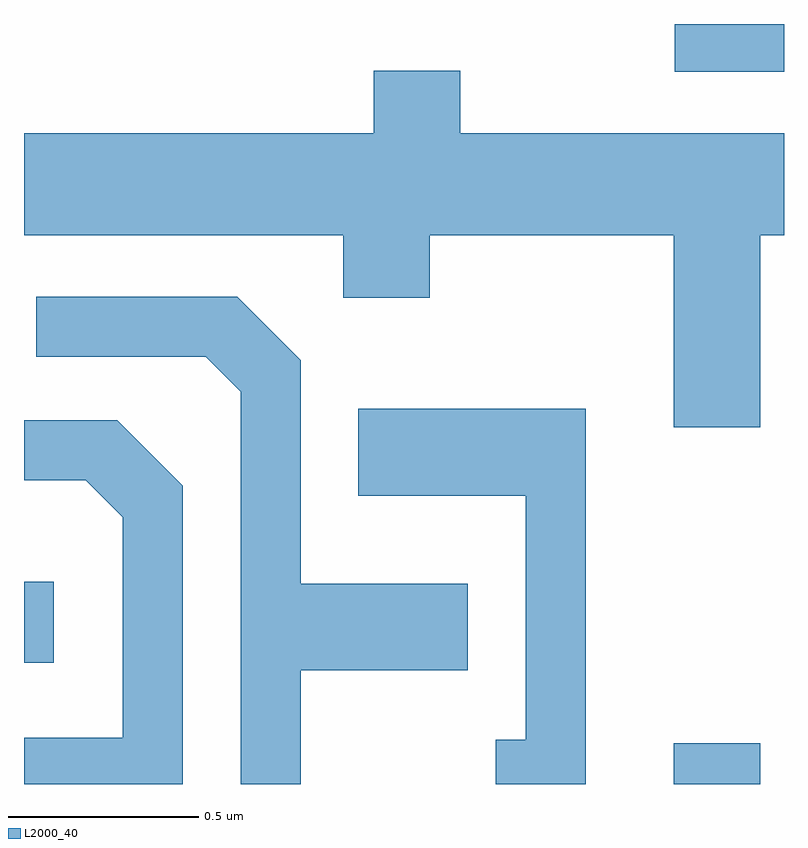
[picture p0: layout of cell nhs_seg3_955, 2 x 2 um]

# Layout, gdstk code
import gdstk
lib = gdstk.Library(unit=1e-6, precision=1e-09)
def R(c, l, rs):  # rectangles x0, y0, x1, y1
    for r in rs: c.add(gdstk.rectangle(r[:2], r[2:], *l))
def P(c, l, *ps):  # polygons
    for p in ps: c.add(gdstk.Polygon(p, *l))
L2000_40 = (2000, 40)

nhs_seg3_955 = lib.new_cell('nhs_seg3_955')
R(nhs_seg3_955, L2000_40, [(193.321,1248.892,193.549,1248.999), (191.611,1249.211,191.689,1249.424), (193.323,1250.766,193.611,1250.892)])
P(nhs_seg3_955, L2000_40, [(193.549,1250.336),(193.611,1250.336),(193.611,1250.604),(192.759,1250.604),(192.759,1250.769),(192.531,1250.769),(192.531,1250.604),(191.611,1250.604),(191.611,1250.336),(192.451,1250.336),(192.451,1250.171),(192.679,1250.171),(192.679,1250.336),(193.321,1250.336),(193.321,1249.831),(193.549,1249.831)],
  [(192.339,1249.191),(192.779,1249.191),(192.779,1249.419),(192.339,1249.419),(192.339,1250.007),(192.172,1250.174),(191.643,1250.174),(191.643,1250.016),(192.089,1250.016),(192.181,1249.924),(192.181,1248.892),(192.339,1248.892)],
  [(193.089,1249.879),(192.491,1249.879),(192.491,1249.651),(192.931,1249.651),(192.931,1249.009),(192.853,1249.009),(192.853,1248.892),(193.089,1248.892)],
  [(192.029,1249.677),(191.857,1249.849),(191.611,1249.849),(191.611,1249.691),(191.774,1249.691),(191.871,1249.594),(191.871,1249.014),(191.611,1249.014),(191.611,1248.892),(192.029,1248.892)])

lib.write_gds('nhs_seg3_955.gds')
